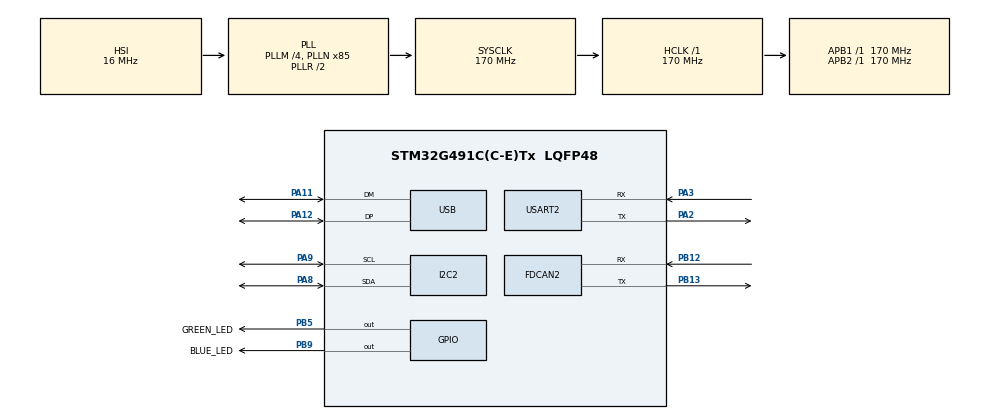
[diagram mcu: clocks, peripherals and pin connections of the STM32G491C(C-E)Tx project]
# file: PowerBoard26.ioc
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FDCAN2.CalculateBaudRateNominal=999999
FDCAN2.CalculateTimeBitNominal=1000
FDCAN2.CalculateTimeQuantumNominal=58.82352941176471
FDCAN2.FrameFormat=FDCAN_FRAME_FD_NO_BRS
FDCAN2.AutoRetransmission=ENABLE
FDCAN2.NominalPrescaler=10
FDCAN2.NominalTimeSeg1=13
FDCAN2.NominalTimeSeg2=3
I2C2.Timing=0x40B285C2
Mcu.Family=STM32G4
Mcu.Name=STM32G491C(C-E)Tx
Mcu.Package=LQFP48
NVIC.FDCAN2_IT0_IRQn=true\:6\:0\:true\:false\:true\:false\:true\:true\:true
NVIC.FDCAN2_IT1_IRQn=true\:6\:0\:true\:false\:true\:false\:true\:true\:true
NVIC.PriorityGroup=NVIC_PRIORITYGROUP_4
NVIC.TIM1_UP_TIM16_IRQn=true\:15\:0\:false\:false\:true\:false\:false\:true\:true
NVIC.TimeBase=TIM1_UP_TIM16_IRQn
NVIC.TimeBaseIP=TIM1
NVIC.USB_LP_IRQn=true\:5\:0\:true\:false\:true\:false\:true\:true\:true
PA11.Mode=Device
PA11.Signal=USB_DM
PA12.Mode=Device
PA12.Signal=USB_DP
PA13.Mode=JTAG_5_pins
PA13.Signal=SYS_JTMS-SWDIO
PA14.Mode=JTAG_5_pins
PA14.Signal=SYS_JTCK-SWCLK
PA15.Mode=JTAG_5_pins
PA15.Signal=SYS_JTDI
PA2.Mode=Asynchronous
PA2.Signal=USART2_TX
PA3.Mode=Asynchronous
PA3.Signal=USART2_RX
PA8.Mode=I2C
PA8.Signal=I2C2_SDA
PA9.Mode=I2C
PA9.Signal=I2C2_SCL
PB12.Mode=FDCAN_Activate
PB12.Signal=FDCAN2_RX
PB13.Mode=FDCAN_Activate
PB13.Signal=FDCAN2_TX
PB3.Mode=JTAG_5_pins
PB3.Signal=SYS_JTDO-SWO
PB4.Mode=JTAG_5_pins
PB4.Signal=SYS_JTRST
PB5.GPIO_Label=GREEN_LED
PB5.Signal=GPIO_Output
PB9.GPIO_Label=BLUE_LED
PB9.Signal=GPIO_Output
PC14-OSC32_IN.Mode=LSE-External-Oscillator
PC14-OSC32_IN.Signal=RCC_OSC32_IN
PC15-OSC32_OUT.Mode=LSE-External-Oscillator
PC15-OSC32_OUT.Signal=RCC_OSC32_OUT
PF0-OSC_IN.Mode=HSE-External-Oscillator
PF0-OSC_IN.Signal=RCC_OSC_IN
PF1-OSC_OUT.Mode=HSE-External-Oscillator
PF1-OSC_OUT.Signal=RCC_OSC_OUT
ProjectManager.HeapSize=0x200
ProjectManager.StackSize=0x400
ProjectManager.TargetToolchain=CMake
RCC.ADC12Freq_Value=170000000
RCC.ADC345Freq_Value=170000000
RCC.AHBFreq_Value=170000000
RCC.APB1Freq_Value=170000000
RCC.APB1TimFreq_Value=170000000
RCC.APB2Freq_Value=170000000
RCC.APB2TimFreq_Value=170000000
RCC.CortexFreq_Value=170000000
RCC.EXTERNAL_CLOCK_VALUE=12288000
RCC.HCLKFreq_Value=170000000
RCC.HSE_VALUE=8000000
RCC.HSI48_VALUE=48000000
RCC.HSI_VALUE=16000000
RCC.PLLM=RCC_PLLM_DIV4
RCC.PLLN=85
RCC.SYSCLKFreq_VALUE=170000000
RCC.SYSCLKSource=RCC_SYSCLKSOURCE_PLLCLK
RCC.VCOOutputFreq_Value=340000000
STMicroelectronics.X-CUBE-AZRTOS-G4.2.0.0.REG_USBX_DEVICE_CON_CK=1
STMicroelectronics.X-CUBE-AZRTOS-G4.2.0.0.REG_UX_DEVICE_DFU=0
STMicroelectronics.X-CUBE-AZRTOS-G4.2.0.0.TX_APP_CREATION=0
STMicroelectronics.X-CUBE-AZRTOS-G4.2.0.0.TX_APP_GENERATE_INIT_CODE=true
STMicroelectronics.X-CUBE-AZRTOS-G4.2.0.0.TX_APP_MEM_POOL_SIZE=65536
STMicroelectronics.X-CUBE-AZRTOS-G4.2.0.0.TX_APP_THREAD_NAME=test
STMicroelectronics.X-CUBE-AZRTOS-G4.2.0.0.TX_TIMER_TICKS_PER_SECOND=1000
STMicroelectronics.X-CUBE-AZRTOS-G4.2.0.0.ThreadXCcRTOSJjThreadXJjCore=true
STMicroelectronics.X-CUBE-AZRTOS-G4.2.0.0.ThreadXCcRTOSJjThreadXJjPerformanceInfo=true
STMicroelectronics.X-CUBE-AZRTOS-G4.2.0.0.ThreadXCcRTOSJjThreadXJjTraceXOosupport=true
STMicroelectronics.X-CUBE-AZRTOS-G4.2.0.0.USBD_CDCACM_EPINCMD_ADDR=2
STMicroelectronics.X-CUBE-AZRTOS-G4.2.0.0.USBD_MANUFACTURER_STRING=UBSEDS
STMicroelectronics.X-CUBE-AZRTOS-G4.2.0.0.USBD_PRODUCT_STRING=CHUD Power Board
STMicroelectronics.X-CUBE-AZRTOS-G4.2.0.0.USBD_SERIAL_NUMBER=67
STMicroelectronics.X-CUBE-AZRTOS-G4.2.0.0.USBXCcUSBJjUSBXJjCoreSystem=true
STMicroelectronics.X-CUBE-AZRTOS-G4.2.0.0.USBXCcUSBJjUSBXJjUXOoDeviceOoClassOoCDCOoACM=true
STMicroelectronics.X-CUBE-AZRTOS-G4.2.0.0.USBXCcUSBJjUSBXJjUXOoDeviceOoControllers=true
STMicroelectronics.X-CUBE-AZRTOS-G4.2.0.0.USBXCcUSBJjUSBXJjUXOoDeviceOoCoreStack=true
STMicroelectronics.X-CUBE-AZRTOS-G4.2.0.0.USBX_DEVICE_APP_THREAD_Size=5120
STMicroelectronics.X-CUBE-AZRTOS-G4.2.0.0.USBX_DEVICE_SYS_SIZE=16384
STMicroelectronics.X-CUBE-AZRTOS-G4.2.0.0.UX_DEBUG_LOG_SIZE=8192
STMicroelectronics.X-CUBE-AZRTOS-G4.2.0.0.UX_DEVICE_APP_MEM_POOL_SIZE=26624
STMicroelectronics.X-CUBE-AZRTOS-G4.2.0.0.UX_SLAVE_REQUEST_DATA_MAX_LENGTH=512
STMicroelectronics.X-CUBE-AZRTOS-G4.2.0.0.UX_THREAD_STACK_SIZE=16384
STMicroelectronics.X-CUBE-AZRTOS-G4.2.0.0_IsAnAzureRtosMw=true
USART2.VirtualMode-Asynchronous=VM_ASYNC
USB.Sof_enable=DISABLE
VP_STMicroelectronics.X-CUBE-AZRTOS-G4_VS_RTOSJjThreadX_6.2.0_2.0.0.Mode=RTOSJjThreadX
VP_STMicroelectronics.X-CUBE-AZRTOS-G4_VS_USBJjUSBX_6.2.0_2.0.0.Mode=USBJjUSBX
VP_SYS_VS_DBSignals.Mode=DisableDeadBatterySignals
VP_SYS_VS_tim1.Mode=TIM1
board=custom

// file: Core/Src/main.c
#include "board_commissioning.h"
#include "board_recovery_floor.h"
#include "persistent_store.h"
/* USER CODE BEGIN Header */
/**
  ******************************************************************************
  * @file           : main.c
  * @brief          : Main program body
  ******************************************************************************
  * @attention
  *
  * Copyright (c) 2025 STMicroelectronics.
  * All rights reserved.
  *
  * This software is licensed under terms that can be found in the LICENSE file
  * in the root directory of this software component.
  * If no LICENSE file comes with this software, it is provided AS-IS.
  *
  ******************************************************************************
  */
/* USER CODE END Header */
#include "app_threadx.h"
#include "main.h"
#include "board_watchdog.h"

/* USER CODE BEGIN Includes */
#include "can_bus.h"
#include "av_bay_underglow.h"
#include "flight_state_cache.h"
#include "board_recovery_boot.h"
#include "ux_api.h"
#include "ux_device_class_cdc_acm.h"
#include <stdint.h>
#include <stdio.h>

/*
 * IMPORTANT:
 * - This pointer MUST be set in the USBX CDC ACM "activate" callback
 *   (usually in app_usbx_device.c). If it's never set, usb_cdc_ready()
 *   stays false and nothing will print.
 */
extern UX_SLAVE_CLASS_CDC_ACM *cdc_acm;

#ifndef MIN
#define MIN(a, b) (((a) < (b)) ? (a) : (b))
#endif
/* USER CODE END Includes */

/* USER CODE BEGIN PM */
static void busy_delay(volatile uint32_t n)
{
  while (n--) { __NOP(); }
}
/* USER CODE END PM */

FDCAN_HandleTypeDef hfdcan2;

I2C_HandleTypeDef hi2c2;

UART_HandleTypeDef huart2;

PCD_HandleTypeDef hpcd_USB_FS;

void SystemClock_Config(void);
static void MX_GPIO_Init(void);
static void MX_FDCAN2_Init(void);
static void MX_I2C2_Init(void);
static void MX_USB_PCD_Init(void);
static void MX_USART2_UART_Init(void);
/* USER CODE BEGIN PFP */
void cdc_printf_init(void);
/* USER CODE END PFP */

int main(void)
{

  /* MCU Configuration--------------------------------------------------------*/

  /* Reset of all peripherals, Initializes the Flash interface and the Systick. */
  HAL_Init();

  /* Configure the system clock */
  SystemClock_Config();

  /* Initialize all configured peripherals */
  MX_GPIO_Init();
  MX_FDCAN2_Init();
  MX_I2C2_Init();
  MX_USB_PCD_Init();
  MX_USART2_UART_Init();
  /* USER CODE BEGIN 2 */
  /* Restore the LaunchCore-managed LED state before ThreadX or SEDSNet start;
   * network-variable synchronization must not gate visible startup state. */
  (void)persistent_store_boot_begin();
  av_bay_underglow_restore();
  /* Establish recovery identity before cached state restore and control tasks. */
  (void)board_recovery_boot_generation();
  (void)board_recovery_floor_prime_boot(); /* Cached failure stays queryable/inhibited. */
  board_commissioning_probe_boot();
  flight_state_cache_restore();
  /* USER CODE END 2 */

  board_watchdog_start();
  MX_ThreadX_Init();

  /* We should never get here as control is now taken by the scheduler */

  /* Infinite loop */
  while (1)
  {

  }
}

void SystemClock_Config(void)
{
  RCC_OscInitTypeDef RCC_OscInitStruct = {0};
  RCC_ClkInitTypeDef RCC_ClkInitStruct = {0};

  /** Configure the main internal regulator output voltage
  */
  HAL_PWREx_ControlVoltageScaling(PWR_REGULATOR_VOLTAGE_SCALE1_BOOST);

  /** Initializes the RCC Oscillators according to the specified parameters
  * in the RCC_OscInitTypeDef structure.
  */
  RCC_OscInitStruct.OscillatorType = RCC_OSCILLATORTYPE_HSI|RCC_OSCILLATORTYPE_HSI48;
  RCC_OscInitStruct.HSIState = RCC_HSI_ON;
  RCC_OscInitStruct.HSICalibrationValue = RCC_HSICALIBRATION_DEFAULT;
  RCC_OscInitStruct.HSI48State = RCC_HSI48_ON;
  RCC_OscInitStruct.PLL.PLLState = RCC_PLL_ON;
  RCC_OscInitStruct.PLL.PLLSource = RCC_PLLSOURCE_HSI;
  RCC_OscInitStruct.PLL.PLLM = RCC_PLLM_DIV4;
  RCC_OscInitStruct.PLL.PLLN = 85;
  RCC_OscInitStruct.PLL.PLLP = RCC_PLLP_DIV2;
  RCC_OscInitStruct.PLL.PLLQ = RCC_PLLQ_DIV2;
  RCC_OscInitStruct.PLL.PLLR = RCC_PLLR_DIV2;
  if (HAL_RCC_OscConfig(&RCC_OscInitStruct) != HAL_OK)
  {
    Error_Handler();
  }

  /** Initializes the CPU, AHB and APB buses clocks
  */
  RCC_ClkInitStruct.ClockType = RCC_CLOCKTYPE_HCLK|RCC_CLOCKTYPE_SYSCLK
                              |RCC_CLOCKTYPE_PCLK1|RCC_CLOCKTYPE_PCLK2;
  RCC_ClkInitStruct.SYSCLKSource = RCC_SYSCLKSOURCE_PLLCLK;
  RCC_ClkInitStruct.AHBCLKDivider = RCC_SYSCLK_DIV1;
  RCC_ClkInitStruct.APB1CLKDivider = RCC_HCLK_DIV1;
  RCC_ClkInitStruct.APB2CLKDivider = RCC_HCLK_DIV1;

  if (HAL_RCC_ClockConfig(&RCC_ClkInitStruct, FLASH_LATENCY_4) != HAL_OK)
  {
    Error_Handler();
  }
}

static void MX_FDCAN2_Init(void)
{

  hfdcan2.Instance = FDCAN2;
  hfdcan2.Init.ClockDivider = FDCAN_CLOCK_DIV1;
  hfdcan2.Init.FrameFormat = FDCAN_FRAME_FD_NO_BRS;
  hfdcan2.Init.Mode = FDCAN_MODE_NORMAL;
  /* FDCAN retries physical arbitration/ACK failures; SEDSNet supplies
   * end-to-end reliability without blocking this non-blocking TX path. */
  hfdcan2.Init.AutoRetransmission = ENABLE;
  hfdcan2.Init.TransmitPause = DISABLE;
  hfdcan2.Init.ProtocolException = DISABLE;
  hfdcan2.Init.NominalPrescaler = 10;
  hfdcan2.Init.NominalSyncJumpWidth = 1;
  hfdcan2.Init.NominalTimeSeg1 = 13;
  hfdcan2.Init.NominalTimeSeg2 = 3;
  hfdcan2.Init.DataPrescaler = 1;
  hfdcan2.Init.DataSyncJumpWidth = 1;
  hfdcan2.Init.DataTimeSeg1 = 1;
  hfdcan2.Init.DataTimeSeg2 = 1;
  hfdcan2.Init.StdFiltersNbr = 0;
  hfdcan2.Init.ExtFiltersNbr = 0;
  hfdcan2.Init.TxFifoQueueMode = FDCAN_TX_FIFO_OPERATION;
  if (HAL_FDCAN_Init(&hfdcan2) != HAL_OK)
  {
    Error_Handler();
  }

}

static void MX_I2C2_Init(void)
{

  hi2c2.Instance = I2C2;
  hi2c2.Init.Timing = 0x40B285C2;
  hi2c2.Init.OwnAddress1 = 0;
  hi2c2.Init.AddressingMode = I2C_ADDRESSINGMODE_7BIT;
  hi2c2.Init.DualAddressMode = I2C_DUALADDRESS_DISABLE;
  hi2c2.Init.OwnAddress2 = 0;
  hi2c2.Init.OwnAddress2Masks = I2C_OA2_NOMASK;
  hi2c2.Init.GeneralCallMode = I2C_GENERALCALL_DISABLE;
  hi2c2.Init.NoStretchMode = I2C_NOSTRETCH_DISABLE;
  if (HAL_I2C_Init(&hi2c2) != HAL_OK)
  {
    Error_Handler();
  }

  /** Configure Analogue filter
  */
  if (HAL_I2CEx_ConfigAnalogFilter(&hi2c2, I2C_ANALOGFILTER_ENABLE) != HAL_OK)
  {
    Error_Handler();
  }

  /** Configure Digital filter
  */
  if (HAL_I2CEx_ConfigDigitalFilter(&hi2c2, 0) != HAL_OK)
  {
    Error_Handler();
  }

}

static void MX_USART2_UART_Init(void)
{

  huart2.Instance = USART2;
  huart2.Init.BaudRate = 115200;
  huart2.Init.WordLength = UART_WORDLENGTH_8B;
  huart2.Init.StopBits = UART_STOPBITS_1;
  huart2.Init.Parity = UART_PARITY_NONE;
  huart2.Init.Mode = UART_MODE_TX_RX;
  huart2.Init.HwFlowCtl = UART_HWCONTROL_NONE;
  huart2.Init.OverSampling = UART_OVERSAMPLING_16;
  huart2.Init.OneBitSampling = UART_ONE_BIT_SAMPLE_DISABLE;
  huart2.Init.ClockPrescaler = UART_PRESCALER_DIV1;
  huart2.AdvancedInit.AdvFeatureInit = UART_ADVFEATURE_NO_INIT;
  if (HAL_UART_Init(&huart2) != HAL_OK)
  {
    Error_Handler();
  }
  if (HAL_UARTEx_SetTxFifoThreshold(&huart2, UART_TXFIFO_THRESHOLD_1_8) != HAL_OK)
  {
    Error_Handler();
  }
  if (HAL_UARTEx_SetRxFifoThreshold(&huart2, UART_RXFIFO_THRESHOLD_1_8) != HAL_OK)
  {
    Error_Handler();
  }
  if (HAL_UARTEx_DisableFifoMode(&huart2) != HAL_OK)
  {
    Error_Handler();
  }

}

static void MX_USB_PCD_Init(void)
{

  hpcd_USB_FS.Instance = USB;
  hpcd_USB_FS.Init.dev_endpoints = 8;
  hpcd_USB_FS.Init.speed = PCD_SPEED_FULL;
  hpcd_USB_FS.Init.phy_itface = PCD_PHY_EMBEDDED;
  hpcd_USB_FS.Init.Sof_enable = DISABLE;
  hpcd_USB_FS.Init.low_power_enable = DISABLE;
  hpcd_USB_FS.Init.lpm_enable = DISABLE;
  hpcd_USB_FS.Init.battery_charging_enable = DISABLE;
  if (HAL_PCD_Init(&hpcd_USB_FS) != HAL_OK)
  {
    Error_Handler();
  }

}

static void MX_GPIO_Init(void)
{
  GPIO_InitTypeDef GPIO_InitStruct = {0};

  /* GPIO Ports Clock Enable */
  __HAL_RCC_GPIOC_CLK_ENABLE();
  __HAL_RCC_GPIOF_CLK_ENABLE();
  __HAL_RCC_GPIOA_CLK_ENABLE();
  __HAL_RCC_GPIOB_CLK_ENABLE();

  /*Configure GPIO pin Output Level */
  HAL_GPIO_WritePin(GPIOB, GREEN_LED_Pin|BLUE_LED_Pin, GPIO_PIN_RESET);

  /*Configure GPIO pins : GREEN_LED_Pin BLUE_LED_Pin */
  GPIO_InitStruct.Pin = GREEN_LED_Pin|BLUE_LED_Pin;
  GPIO_InitStruct.Mode = GPIO_MODE_OUTPUT_PP;
  GPIO_InitStruct.Pull = GPIO_NOPULL;
  GPIO_InitStruct.Speed = GPIO_SPEED_FREQ_LOW;
  HAL_GPIO_Init(GPIOB, &GPIO_InitStruct);

}

/* USER CODE BEGIN 4 */

static inline int cdc_in_isr(void)
{
  return (__get_IPSR() != 0U);
}

/* ------------ Mutex for multi-thread serialization ------------ */

static TX_MUTEX cdc_mutex;

/*
 * NOTE:
 * Call this from a ThreadX thread AFTER USBX device init (MX_USBX_Device_Init)
 * has run. It's OK to call multiple times if you guard creation elsewhere,
 * but simplest is call once from your "app" thread entry.
 */
void cdc_printf_init(void)
{
  (void)tx_mutex_create(&cdc_mutex, "cdc_tx_mutex", TX_INHERIT);
}

extern volatile ULONG _tx_thread_system_state;

static inline int tx_is_running(void)
{
  return (__get_IPSR() == 0U) && (_tx_thread_system_state == 0U);
}

static void cdc_lock(void)
{
  if (!tx_is_running() || cdc_in_isr()) return;
  (void)tx_mutex_get(&cdc_mutex, TX_WAIT_FOREVER);
}

static void cdc_unlock(void)
{
  if (!tx_is_running() || cdc_in_isr()) return;
  (void)tx_mutex_put(&cdc_mutex);
}

/* ------------ USB ready helper ------------ */

static inline UINT usb_cdc_ready(void)
{
  return (cdc_acm != UX_NULL);
}

/* ------------ Bounded, drop-on-trouble CDC write ------------ */

static void cdc_write_raw(const uint8_t *buf, uint16_t len)
{
  if (!buf || !len || cdc_in_isr()) return;
  if (!usb_cdc_ready()) return;

  cdc_lock();

  /* Keep it simple: one synchronous write. If host isn't ready, drop. */
  ULONG actual = 0;
  UINT st = ux_device_class_cdc_acm_write(cdc_acm, (UCHAR *)buf, (ULONG)len, &actual);
  if (st != UX_SUCCESS || actual == 0)
  {
    /* Host not ready or write failed — drop the data instead of hard-failing.
       This avoids entering Error_Handler when USB is connected but the
       host-side serial port isn't opened. */
    cdc_unlock();
    return;
  }
  (void)actual;

  cdc_unlock();
}

/* ---------- printf redirection ---------- */

#ifdef __GNUC__
int _write(int file, char *ptr, int len)
{
  (void)file;
  if (len <= 0) return 0;

  /* If USB not configured, pretend we consumed everything (best-effort debug) */
  if (!usb_cdc_ready()) return len;

  uint8_t buf[128];
  int i = 0;
  static uint8_t last_was_cr = 0;

  while (i < len)
  {
    uint16_t w = 0;

    while (i < len && w < sizeof(buf))
    {
      uint8_t c = (uint8_t)ptr[i++];

      if (c == '\n')
      {
        if (!last_was_cr)
        {
          if (w > (uint16_t)(sizeof(buf) - 2))
          {
            i--;
            break;
          }
          buf[w++] = '\r';
        }

        if (w >= sizeof(buf))
        {
          i--;
          break;
        }
        buf[w++] = '\n';
        last_was_cr = 0;
      }
      else
      {
        if (w >= sizeof(buf))
        {
          i--;
          break;
        }
        buf[w++] = c;
        last_was_cr = (c == '\r');
      }
    }

    if (w > 0)
    {
      cdc_write_raw(buf, w);
    }
  }

  return len;
}
#else
int fputc(int ch, FILE *f)
{
  (void)f;

  static uint8_t last_was_cr = 0;
  uint8_t buf[2];
  uint16_t w = 0;

  if (!usb_cdc_ready()) return ch;

  if (ch == '\n')
  {
    if (!last_was_cr) buf[w++] = '\r';
    buf[w++] = '\n';
    last_was_cr = 0;
  }
  else
  {
    buf[w++] = (uint8_t)ch;
    last_was_cr = (ch == '\r');
  }

  if (w > 0) cdc_write_raw(buf, w);
  return ch;
}
#endif

/* USER CODE END 4 */

void HAL_TIM_PeriodElapsedCallback(TIM_HandleTypeDef *htim)
{
  if (htim->Instance == TIM1)
  {
    HAL_IncTick();
  }
}

void Error_Handler(void)
{
  /* USER CODE BEGIN Error_Handler_Debug */
  /* User can add his own implementation to report the HAL error return state */
  __disable_irq();
  while (1)
  {
    HAL_GPIO_TogglePin(GREEN_LED_GPIO_Port, GREEN_LED_Pin);
    HAL_GPIO_TogglePin(BLUE_LED_GPIO_Port, BLUE_LED_Pin);
    busy_delay(100000);

  }
  /* USER CODE END Error_Handler_Debug */
}
